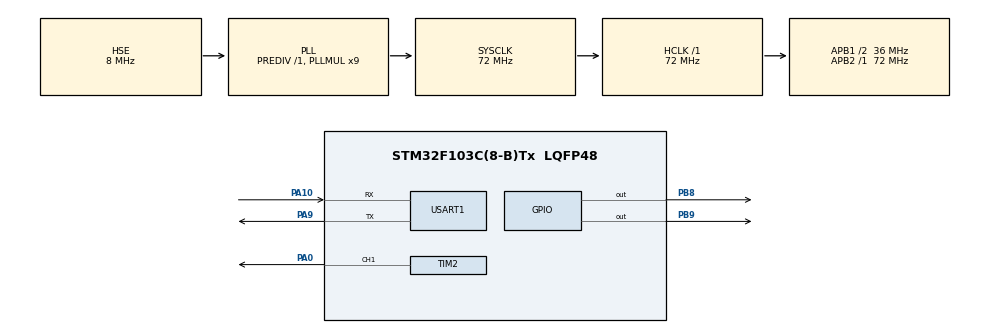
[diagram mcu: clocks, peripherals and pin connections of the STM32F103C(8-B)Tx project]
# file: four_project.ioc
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Mcu.Family=STM32F1
Mcu.Name=STM32F103C(8-B)Tx
Mcu.Package=LQFP48
NVIC.PriorityGroup=NVIC_PRIORITYGROUP_4
PA0-WKUP.Signal=S_TIM2_CH1_ETR
PA10.Mode=Asynchronous
PA10.Signal=USART1_RX
PA13.Mode=Serial_Wire
PA13.Signal=SYS_JTMS-SWDIO
PA14.Mode=Serial_Wire
PA14.Signal=SYS_JTCK-SWCLK
PA9.Mode=Asynchronous
PA9.Signal=USART1_TX
PB8.GPIO_Speed=GPIO_SPEED_FREQ_HIGH
PB8.PinState=GPIO_PIN_SET
PB8.Signal=GPIO_Output
PB9.GPIO_Speed=GPIO_SPEED_FREQ_HIGH
PB9.PinState=GPIO_PIN_SET
PB9.Signal=GPIO_Output
PD0-OSC_IN.Mode=HSE-External-Oscillator
PD0-OSC_IN.Signal=RCC_OSC_IN
PD1-OSC_OUT.Mode=HSE-External-Oscillator
PD1-OSC_OUT.Signal=RCC_OSC_OUT
ProjectManager.HeapSize=0x200
ProjectManager.StackSize=0x400
ProjectManager.TargetToolchain=CMake
RCC.AHBFreq_Value=72000000
RCC.APB1CLKDivider=RCC_HCLK_DIV2
RCC.APB1Freq_Value=36000000
RCC.APB1TimFreq_Value=72000000
RCC.APB2Freq_Value=72000000
RCC.APB2TimFreq_Value=72000000
RCC.HCLKFreq_Value=72000000
RCC.PLLMUL=RCC_PLL_MUL9
RCC.PLLSourceVirtual=RCC_PLLSOURCE_HSE
RCC.SYSCLKFreq_VALUE=72000000
RCC.SYSCLKSource=RCC_SYSCLKSOURCE_PLLCLK
RCC.USBFreq_Value=72000000
SH.S_TIM2_CH1_ETR.0=TIM2_CH1,PWM Generation1 CH1
TIM2.Channel-PWM\ Generation1\ CH1=TIM_CHANNEL_1
TIM2.Period=19999
TIM2.Prescaler=71
USART1.VirtualMode=VM_ASYNC
VP_TIM1_VS_ClockSourceINT.Mode=Internal
VP_TIM2_VS_ClockSourceINT.Mode=Internal
board=custom

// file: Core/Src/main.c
/* USER CODE BEGIN Header */
/**
  ******************************************************************************
  * @file           : main.c
  * @brief          : Main program body
  ******************************************************************************
  * @attention
  *
  * Copyright (c) 2026 STMicroelectronics.
  * All rights reserved.
  *
  * This software is licensed under terms that can be found in the LICENSE file
  * in the root directory of this software component.
  * If no LICENSE file comes with this software, it is provided AS-IS.
  *
  ******************************************************************************
  */
/* USER CODE END Header */
#include "main.h"
#include "tim.h"
#include "usart.h"
#include "gpio.h"

/* USER CODE BEGIN Includes */
#include "OLED.h"
#include "Servo.h"
#include <stdio.h>
/* USER CODE END Includes */

void SystemClock_Config(void);
/* USER CODE BEGIN PFP */
static void Report_Status(float target);
/* USER CODE END PFP */

/* USER CODE BEGIN 0 */
static void Report_Status(float target)
{
    uint16_t ccr = Servo_AngleToCCR(target);
    uint32_t angle_num = (uint32_t)(target + 0.5f);

    OLED_ShowString(1, 1, "Target:");
    OLED_ShowNum(1, 9, angle_num, 3);
    OLED_ShowString(1, 12, "deg");

    OLED_ShowString(2, 1, "CCR :");
    OLED_ShowNum(2, 9, ccr, 4);

    OLED_ShowString(3, 1, "Pulse:");
    OLED_ShowNum(3, 9, ccr / 1000, 1);
    OLED_ShowString(3, 10, ".");
    OLED_ShowNum(3, 11, ccr % 1000, 3);
    OLED_ShowString(3, 14, "ms");

    printf("Target=%3d CCR=%4u Pulse=%u.%03ums\r\n",
           (int)angle_num,
           (unsigned int)ccr,
           (unsigned int)(ccr / 1000U),
           (unsigned int)(ccr % 1000U));
}
/* USER CODE END 0 */

int main(void)
{

  /* MCU Configuration--------------------------------------------------------*/

  /* Reset of all peripherals, Initializes the Flash interface and the Systick. */
  HAL_Init();

  /* Configure the system clock */
  SystemClock_Config();

  /* Initialize all configured peripherals */
  MX_GPIO_Init();
  MX_TIM1_Init();
  MX_USART1_UART_Init();
  MX_TIM2_Init();
  /* USER CODE BEGIN 2 */
  static const float sequence[] = {0.0f, 45.0f, 90.0f, 135.0f, 180.0f};

  OLED_Init();
  Servo_Start();

  for (uint32_t i = 0; i < sizeof(sequence) / sizeof(sequence[0]); i++)
  {
    Servo_SetAngle(sequence[i]);
    Report_Status(sequence[i]);
    HAL_Delay(1000);
  }
  /* USER CODE END 2 */

  /* Infinite loop */
  while (1)
  {

  }
}

void SystemClock_Config(void)
{
  RCC_OscInitTypeDef RCC_OscInitStruct = {0};
  RCC_ClkInitTypeDef RCC_ClkInitStruct = {0};

  /** Initializes the RCC Oscillators according to the specified parameters
  * in the RCC_OscInitTypeDef structure.
  */
  RCC_OscInitStruct.OscillatorType = RCC_OSCILLATORTYPE_HSE;
  RCC_OscInitStruct.HSEState = RCC_HSE_ON;
  RCC_OscInitStruct.HSEPredivValue = RCC_HSE_PREDIV_DIV1;
  RCC_OscInitStruct.HSIState = RCC_HSI_ON;
  RCC_OscInitStruct.PLL.PLLState = RCC_PLL_ON;
  RCC_OscInitStruct.PLL.PLLSource = RCC_PLLSOURCE_HSE;
  RCC_OscInitStruct.PLL.PLLMUL = RCC_PLL_MUL9;
  if (HAL_RCC_OscConfig(&RCC_OscInitStruct) != HAL_OK)
  {
    Error_Handler();
  }

  /** Initializes the CPU, AHB and APB buses clocks
  */
  RCC_ClkInitStruct.ClockType = RCC_CLOCKTYPE_HCLK|RCC_CLOCKTYPE_SYSCLK
                              |RCC_CLOCKTYPE_PCLK1|RCC_CLOCKTYPE_PCLK2;
  RCC_ClkInitStruct.SYSCLKSource = RCC_SYSCLKSOURCE_PLLCLK;
  RCC_ClkInitStruct.AHBCLKDivider = RCC_SYSCLK_DIV1;
  RCC_ClkInitStruct.APB1CLKDivider = RCC_HCLK_DIV2;
  RCC_ClkInitStruct.APB2CLKDivider = RCC_HCLK_DIV1;

  if (HAL_RCC_ClockConfig(&RCC_ClkInitStruct, FLASH_LATENCY_2) != HAL_OK)
  {
    Error_Handler();
  }
}

/* USER CODE BEGIN 4 */
int _write(int fd, char *ptr, int len)
{
    (void)fd;
    HAL_UART_Transmit(&huart1, (uint8_t *)ptr, (uint16_t)len, 100);
    return len;
}

/* USER CODE END 4 */

void Error_Handler(void)
{
  __disable_irq();
  while (1)
  {
  }
}
